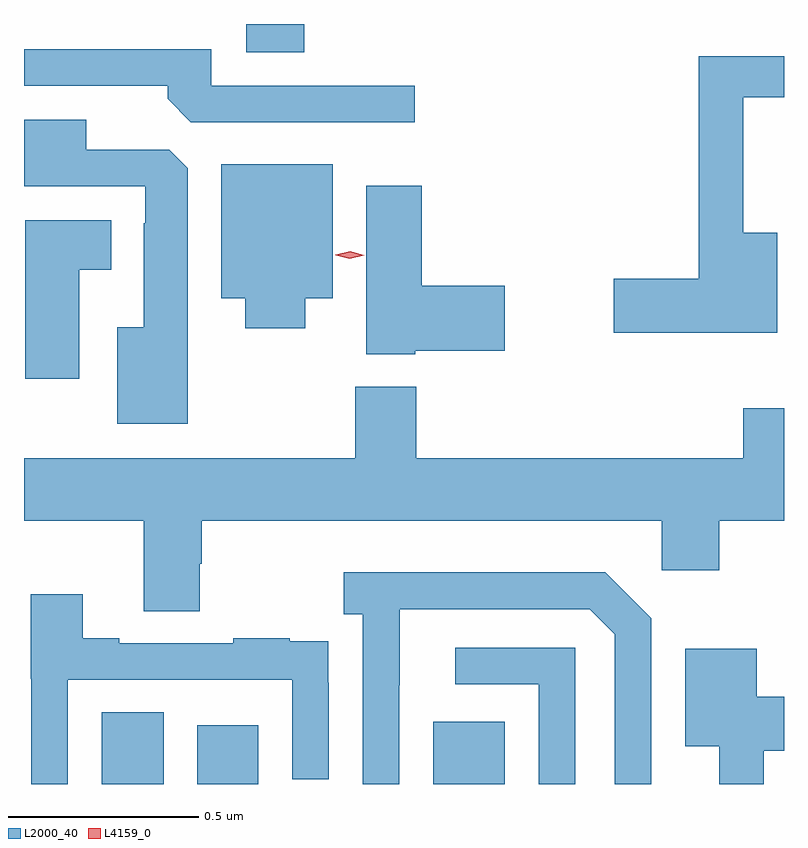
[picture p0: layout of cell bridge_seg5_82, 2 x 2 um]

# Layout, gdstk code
import gdstk
lib = gdstk.Library(unit=1e-6, precision=1e-09)
def R(c, l, rs):  # rectangles x0, y0, x1, y1
    for r in rs: c.add(gdstk.rectangle(r[:2], r[2:], *l))
def P(c, l, *ps):  # polygons
    for p in ps: c.add(gdstk.Polygon(p, *l))
L2000_40 = (2000, 40)
L4159_0 = (4159, 0)

bridge_seg5_82 = lib.new_cell('bridge_seg5_82')
R(bridge_seg5_82, L2000_40, [(125.138,889.367,125.302,889.556), (125.39,889.367,125.551,889.522), (126.011,889.367,126.199,889.531), (125.519,891.293,125.672,891.367)])
P(bridge_seg5_82, L2000_40, [(125.962,891.204),(125.427,891.204),(125.427,891.3),(124.934,891.3),(124.934,891.204),(125.312,891.204),(125.312,891.17),(125.373,891.108),(125.962,891.108)],
  [(126.916,890.818),(126.827,890.818),(126.827,891.174),(126.934,891.174),(126.934,891.282),(126.709,891.282),(126.709,890.696),(126.486,890.696),(126.486,890.554),(126.916,890.554)],
  [(125.365,890.987),(125.316,891.036),(125.098,891.036),(125.098,891.115),(124.934,891.115),(124.934,890.94),(125.253,890.94),(125.253,890.843),(125.249,890.843),(125.249,890.569),(125.18,890.569),(125.18,890.315),(125.365,890.315)],
  [(125.674,890.645),(125.746,890.645),(125.746,890.998),(125.453,890.998),(125.453,890.645),(125.516,890.645),(125.516,890.567),(125.674,890.567)],
  [(125.964,890.507),(126.199,890.507),(126.199,890.678),(125.981,890.678),(125.981,890.941),(125.834,890.941),(125.834,890.498),(125.964,890.498)],
  [(125.08,890.72),(125.164,890.72),(125.164,890.851),(124.937,890.851),(124.937,890.433),(125.08,890.433)],
  [(125.397,889.947),(125.402,889.947),(125.402,890.06),(126.612,890.06),(126.612,889.929),(126.764,889.929),(126.764,890.06),(126.934,890.06),(126.934,890.356),(126.827,890.356),(126.827,890.224),(125.966,890.224),(125.966,890.413),(125.806,890.413),(125.806,890.224),(124.934,890.224),(124.934,890.06),(125.249,890.06),(125.249,889.822),(125.397,889.822)],
  [(125.922,889.627),(125.923,889.627),(125.923,889.827),(126.423,889.827),(126.489,889.761),(126.489,889.367),(126.585,889.367),(126.585,889.803),(126.464,889.924),(125.775,889.924),(125.775,889.814),(125.826,889.814),(125.826,889.367),(125.922,889.367)],
  [(125.049,889.641),(125.64,889.641),(125.64,889.38),(125.736,889.38),(125.736,889.634),(125.735,889.634),(125.735,889.743),(125.633,889.743),(125.633,889.75),(125.485,889.75),(125.485,889.737),(125.185,889.737),(125.185,889.75),(125.089,889.75),(125.089,889.867),(124.952,889.867),(124.952,889.644),(124.953,889.644),(124.953,889.367),(125.049,889.367)],
  [(126.384,889.725),(126.069,889.725),(126.069,889.629),(126.288,889.629),(126.288,889.367),(126.384,889.367)],
  [(126.881,889.454),(126.934,889.454),(126.934,889.596),(126.862,889.596),(126.862,889.723),(126.674,889.723),(126.674,889.466),(126.764,889.466),(126.764,889.367),(126.881,889.367)])
P(bridge_seg5_82, L4159_0, [(125.791,890.749),(125.754,890.759),(125.753,890.76),(125.754,890.76),(125.792,890.769),(125.829,890.758),(125.829,890.758),(125.829,890.758)])

lib.write_gds('bridge_seg5_82.gds')
